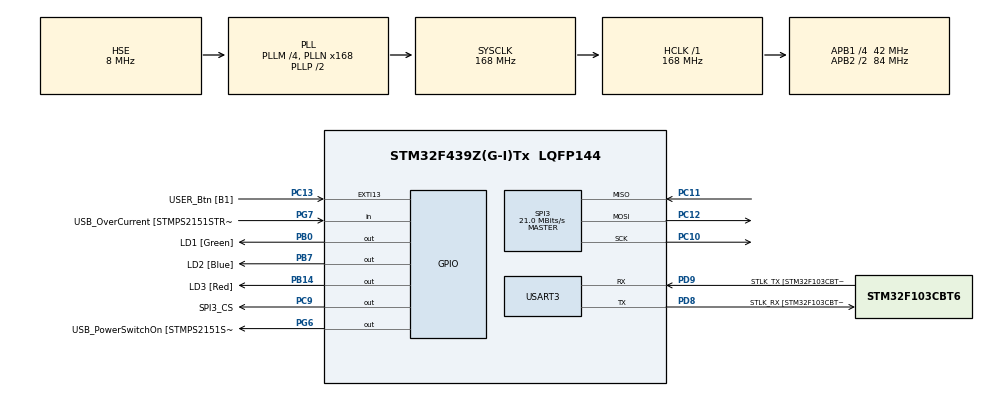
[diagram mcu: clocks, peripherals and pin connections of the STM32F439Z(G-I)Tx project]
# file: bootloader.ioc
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Mcu.Family=STM32F4
Mcu.Name=STM32F439Z(G-I)Tx
Mcu.Package=LQFP144
NVIC.EXTI15_10_IRQn=true\:0\:0\:false\:false\:true\:true\:true\:true
NVIC.PriorityGroup=NVIC_PRIORITYGROUP_4
PA13.GPIO_Label=TMS
PA13.Mode=Serial_Wire
PA13.Signal=SYS_JTMS-SWDIO
PA14.GPIO_Label=TCK
PA14.Mode=Serial_Wire
PA14.Signal=SYS_JTCK-SWCLK
PB0.GPIO_Label=LD1 [Green]
PB0.Signal=GPIO_Output
PB14.GPIO_Label=LD3 [Red]
PB14.Signal=GPIO_Output
PB7.GPIO_Label=LD2 [Blue]
PB7.Signal=GPIO_Output
PC10.Mode=Full_Duplex_Master
PC10.Signal=SPI3_SCK
PC11.Mode=Full_Duplex_Master
PC11.Signal=SPI3_MISO
PC12.Mode=Full_Duplex_Master
PC12.Signal=SPI3_MOSI
PC13.GPIO_Label=USER_Btn [B1]
PC13.GPIO_ModeDefaultEXTI=GPIO_MODE_IT_RISING
PC13.Signal=GPXTI13
PC14/OSC32_IN.Mode=LSE-External-Oscillator
PC14/OSC32_IN.Signal=RCC_OSC32_IN
PC15/OSC32_OUT.Mode=LSE-External-Oscillator
PC15/OSC32_OUT.Signal=RCC_OSC32_OUT
PC9.GPIO_Label=SPI3_CS
PC9.GPIO_Speed=GPIO_SPEED_FREQ_VERY_HIGH
PC9.PinState=GPIO_PIN_SET
PC9.Signal=GPIO_Output
PD8.GPIO_Label=STLK_RX [STM32F103CBT6_PA3]
PD8.Mode=Asynchronous
PD8.Signal=USART3_TX
PD9.GPIO_Label=STLK_TX [STM32F103CBT6_PA2]
PD9.Mode=Asynchronous
PD9.Signal=USART3_RX
PG6.GPIO_Label=USB_PowerSwitchOn [STMPS2151STR_EN]
PG6.Signal=GPIO_Output
PG7.GPIO_Label=USB_OverCurrent [STMPS2151STR_FAULT]
PG7.Signal=GPIO_Input
PH0/OSC_IN.GPIO_Label=MCO [STM32F103CBT6_PA8]
PH0/OSC_IN.Mode=HSE-External-Clock-Source
PH0/OSC_IN.Signal=RCC_OSC_IN
PH1/OSC_OUT.Mode=HSE-External-Clock-Source
PH1/OSC_OUT.Signal=RCC_OSC_OUT
ProjectManager.HeapSize=0x200
ProjectManager.StackSize=0x400
ProjectManager.TargetToolchain=CMake
RCC.48MHZClocksFreq_Value=48000000
RCC.AHBFreq_Value=168000000
RCC.APB1CLKDivider=RCC_HCLK_DIV4
RCC.APB1Freq_Value=42000000
RCC.APB1TimFreq_Value=84000000
RCC.APB2CLKDivider=RCC_HCLK_DIV2
RCC.APB2Freq_Value=84000000
RCC.APB2TimCLKDivider=2
RCC.APB2TimFreq_Value=168000000
RCC.CortexFreq_Value=168000000
RCC.HCLKFreq_Value=168000000
RCC.HSE_VALUE=8000000
RCC.HSI_VALUE=16000000
RCC.PLLM=4
RCC.PLLMUL=RCC_PLL_MUL9
RCC.PLLN=168
RCC.PLLQ=7
RCC.PLLSourceVirtual=RCC_PLLSOURCE_HSE
RCC.PRESCALERUSB=RCC_USBCLKSOURCE_PLL_DIV1_5
RCC.SYSCLKFreq_VALUE=168000000
RCC.SYSCLKSource=RCC_SYSCLKSOURCE_PLLCLK
RCC.SYSCLKSourceVirtual=RCC_SYSCLKSOURCE_PLLCLK
RCC.USBFreq_Value=48000000
RCC.VCOOutputFreq_Value=336000000
SPI3.CalculateBaudRate=21.0 MBits/s
SPI3.Direction=SPI_DIRECTION_2LINES
SPI3.Mode=SPI_MODE_MASTER
SPI3.VirtualType=VM_MASTER
TIM1.Prescaler=168-1
USART3.VirtualMode=VM_ASYNC
VP_TIM1_VS_ClockSourceINT.Mode=Internal
board=NUCLEO-F439ZI

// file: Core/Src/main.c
/* USER CODE BEGIN Header */
/**
  ******************************************************************************
  * @file           : main.c
  * @brief          : Main program body
  ******************************************************************************
  * @attention
  *
  * Copyright (c) 2025 STMicroelectronics.
  * All rights reserved.
  *
  * This software is licensed under terms that can be found in the LICENSE file
  * in the root directory of this software component.
  * If no LICENSE file comes with this software, it is provided AS-IS.
  *
  ******************************************************************************
  */
/* USER CODE END Header */
#include "main.h"

/* USER CODE BEGIN Includes */
#include "generated_public_key.h"
#include "config.h"
#include "app_status.h"
#include "stdio.h"
#include "stdbool.h"
#include "string.h"
#include "ed25519.h"
#include "fragmentstore/fragmentstore.h"
#include "installer.h"
#include "w25qxx_init.h"
#include "w25qxx/flash_interface.h"
#include "delay.h"
#include "niram/no_init_ram.h"
/* USER CODE END Includes */

/* USER CODE BEGIN PTD */
typedef void (*pFunction)(void);
/* USER CODE END PTD */

SPI_HandleTypeDef hspi3;

TIM_HandleTypeDef htim1;

UART_HandleTypeDef huart3;

/* USER CODE BEGIN PV */

static uint8_t f_w25qxx_verify_buf[512];

/* USER CODE END PV */

void SystemClock_Config(void);
static void MX_GPIO_Init(void);
static void MX_SPI3_Init(void);
static void MX_USART3_UART_Init(void);
static void MX_TIM1_Init(void);

/* USER CODE BEGIN 0 */
int __io_putchar(int ch)
{
  /* Place your implementation of fputc here */
  /* e.g. write a character to the USART1 and Loop until the end of transmission */
  HAL_UART_Transmit(&huart3, (uint8_t *)&ch, 1, 0xFFFF);

  return ch;
}

void HAL_GPIO_EXTI_Callback(uint16_t GPIO_Pin)
{
  (void)GPIO_Pin;
  printf("Bootloader button interrupt\r\n");
  memset(&NO_INIT_RAM_content, 0, sizeof(NO_INIT_RAM_content));
  printf("No init ram cleared\r\n");
}

static void JumpTo(uint32_t address)
{
  uint32_t app_stack = *(__IO uint32_t*)address;
  uint32_t app_reset_handler = *(__IO uint32_t*)(address + 4);

  __disable_irq();
  for (int i = 0; i < 8; i++) {
      NVIC->ICER[i] = 0xFFFFFFFF;
      NVIC->ICPR[i] = 0xFFFFFFFF;
  }

  HAL_DeInit();
  HAL_RCC_DeInit();
  SysTick->CTRL = 0;
  SysTick->LOAD = 0;
  SysTick->VAL  = 0;

  SCB->VTOR = address;

  asm volatile ("" ::: "memory");
  asm volatile ("msr msp, %0; bx %1;" : : "r"(app_stack), "r"(app_reset_handler));
}

/* USER CODE END 0 */

int main(void)
{

  /* USER CODE BEGIN 1 */
  NO_INIT_RAM_Init();
  /* USER CODE END 1 */

  /* MCU Configuration--------------------------------------------------------*/

  /* Reset of all peripherals, Initializes the Flash interface and the Systick. */
  HAL_Init();

  /* Configure the system clock */
  SystemClock_Config();

  /* Initialize all configured peripherals */
  MX_GPIO_Init();
  MX_SPI3_Init();
  MX_USART3_UART_Init();
  MX_TIM1_Init();
  /* USER CODE BEGIN 2 */
  printf("Bootloader initialized\r\n");

  NO_INIT_RAM_SetMember(&NO_INIT_RAM_content.resetCount, NO_INIT_RAM_content.resetCount + 1U);

  printf("No init memory reset count: %lu\r\n", NO_INIT_RAM_content.resetCount);
  printf("Last no init memory reset arg = %lu\r\n", NO_INIT_RAM_content.resetArg);

  w25qxx_handle_t* hnd = W25Q128_Init(&hspi3, SPI3_CS_GPIO_Port, SPI3_CS_Pin);
  if (hnd == NULL)
  {
    printf("W25Q128_Init failed!\r\n");
  }
  else
  {
    if (W25Qxx_INTERFACE_Init(hnd, f_w25qxx_verify_buf, sizeof(f_w25qxx_verify_buf)))
    {
      printf("W25Q128_Init OK!\r\n");
    }
    else
    {
      printf("W25Qxx_INTERFACE_Init failed\r\n");
    }
  }

  KeyContainer_t keys = {
    .metadataPubKey = generated_public_key,
    .firmwarePubKey = generated_public_key,
    .fragmentPubKey = generated_public_key,
  };

  bool appBinaryOk = APP_STATUS_Verify(&keys);
  printf("APPLICATION BINARY IS %s\r\n", appBinaryOk ? "OK" : "NOT OK");

#ifdef ENABLE_RESCUE_PARTITION
  bool rescueBinaryOk = RESCUE_STATUS_Verify(&keys);
  printf("RESCUE BINARY IS %s\r\n", rescueBinaryOk ? "OK" : "NOT OK");
#endif

  if (appBinaryOk && (NO_INIT_RAM_content.resetCount >= 10U))
  {
    printf("Reset loop stopped by anti boot loop detection. App marked invalid!\r\n");
    NO_INIT_RAM_SetMember(&NO_INIT_RAM_content.resetCount, 0U);
    NO_INIT_RAM_SetMember(&NO_INIT_RAM_content.appTag, APP_TAG_INVALID);
  }

  INSTALLER_InitAreas(hnd, &keys);

  if (INSTALLER_CheckInstallRequest())
  {
    NO_INIT_RAM_SetMember(&NO_INIT_RAM_content.appTag, APP_TAG_GOOD);
    #ifdef ENABLE_INSTALL_TRYOUT
    NO_INIT_RAM_SetMember(&NO_INIT_RAM_content.installTag, APP_TAG_TRYOUT);
    #else
    NO_INIT_RAM_SetMember(&NO_INIT_RAM_content.installTag, 0U);
    #endif
    appBinaryOk = APP_STATUS_Verify(&keys);
  }
  else
  {
    NO_INIT_RAM_SetMember(&NO_INIT_RAM_content.installTag, 0U);
    printf("Nothing installed!\r\n");
  }

  if (appBinaryOk && (NO_INIT_RAM_content.appTag != APP_TAG_INVALID))
  {
    const Metadata_t* metadata = APP_STATUS_GetMetadata();
    APP_STATUS_PrintMetadata(metadata);
    JumpTo(metadata->startAddress);
  }
  else
  {
    printf("Cannot jump to invalid app!\r\n");
  }

  if (!appBinaryOk && (NO_INIT_RAM_content.appTag != APP_TAG_INVALID))
  {
    if (INSTALLER_TryRepair())
    {
      printf("Firmware repaired!\r\n");
      NO_INIT_RAM_SetMember(&NO_INIT_RAM_content.appTag, APP_TAG_GOOD);
      const Metadata_t* metadata = APP_STATUS_GetMetadata();
      APP_STATUS_PrintMetadata(metadata);
      JumpTo(metadata->startAddress);
    }
  }

#ifdef ENABLE_RESCUE_PARTITION
  if (rescueBinaryOk)
  {
    NO_INIT_RAM_SetMember(&NO_INIT_RAM_content.appTag, APP_TAG_GOOD);
    const Metadata_t* metadata = RESCUE_STATUS_GetMetadata();
    APP_STATUS_PrintMetadata(metadata);
    JumpTo(metadata->startAddress);
  }
#else
  const Metadata_t* meta = NULL;
  const bool rescueOk = INSTALLER_TryInstallRescueApp(&meta);
  if (rescueOk && (meta != NULL))
  {
    NO_INIT_RAM_SetMember(&NO_INIT_RAM_content.appTag, APP_TAG_GOOD);
    APP_STATUS_PrintMetadata(meta);
    JumpTo(meta->startAddress);
  }
#endif
  /* USER CODE END 2 */

  /* Infinite loop */
  /* USER CODE BEGIN WHILE */
  while (1)
  {
    HAL_GPIO_TogglePin(LD3_GPIO_Port, LD3_Pin); // red LED
    HAL_Delay(500);
    /* USER CODE END WHILE */

  }
}

void SystemClock_Config(void)
{
  RCC_OscInitTypeDef RCC_OscInitStruct = {0};
  RCC_ClkInitTypeDef RCC_ClkInitStruct = {0};

  /** Configure the main internal regulator output voltage
  */
  __HAL_RCC_PWR_CLK_ENABLE();
  __HAL_PWR_VOLTAGESCALING_CONFIG(PWR_REGULATOR_VOLTAGE_SCALE1);

  /** Initializes the RCC Oscillators according to the specified parameters
  * in the RCC_OscInitTypeDef structure.
  */
  RCC_OscInitStruct.OscillatorType = RCC_OSCILLATORTYPE_HSE;
  RCC_OscInitStruct.HSEState = RCC_HSE_BYPASS;
  RCC_OscInitStruct.PLL.PLLState = RCC_PLL_ON;
  RCC_OscInitStruct.PLL.PLLSource = RCC_PLLSOURCE_HSE;
  RCC_OscInitStruct.PLL.PLLM = 4;
  RCC_OscInitStruct.PLL.PLLN = 168;
  RCC_OscInitStruct.PLL.PLLP = RCC_PLLP_DIV2;
  RCC_OscInitStruct.PLL.PLLQ = 7;
  if (HAL_RCC_OscConfig(&RCC_OscInitStruct) != HAL_OK)
  {
    Error_Handler();
  }

  /** Initializes the CPU, AHB and APB buses clocks
  */
  RCC_ClkInitStruct.ClockType = RCC_CLOCKTYPE_HCLK|RCC_CLOCKTYPE_SYSCLK
                              |RCC_CLOCKTYPE_PCLK1|RCC_CLOCKTYPE_PCLK2;
  RCC_ClkInitStruct.SYSCLKSource = RCC_SYSCLKSOURCE_PLLCLK;
  RCC_ClkInitStruct.AHBCLKDivider = RCC_SYSCLK_DIV1;
  RCC_ClkInitStruct.APB1CLKDivider = RCC_HCLK_DIV4;
  RCC_ClkInitStruct.APB2CLKDivider = RCC_HCLK_DIV2;

  if (HAL_RCC_ClockConfig(&RCC_ClkInitStruct, FLASH_LATENCY_5) != HAL_OK)
  {
    Error_Handler();
  }
}

static void MX_SPI3_Init(void)
{

  /* SPI3 parameter configuration*/
  hspi3.Instance = SPI3;
  hspi3.Init.Mode = SPI_MODE_MASTER;
  hspi3.Init.Direction = SPI_DIRECTION_2LINES;
  hspi3.Init.DataSize = SPI_DATASIZE_8BIT;
  hspi3.Init.CLKPolarity = SPI_POLARITY_LOW;
  hspi3.Init.CLKPhase = SPI_PHASE_1EDGE;
  hspi3.Init.NSS = SPI_NSS_SOFT;
  hspi3.Init.BaudRatePrescaler = SPI_BAUDRATEPRESCALER_2;
  hspi3.Init.FirstBit = SPI_FIRSTBIT_MSB;
  hspi3.Init.TIMode = SPI_TIMODE_DISABLE;
  hspi3.Init.CRCCalculation = SPI_CRCCALCULATION_DISABLE;
  hspi3.Init.CRCPolynomial = 10;
  if (HAL_SPI_Init(&hspi3) != HAL_OK)
  {
    Error_Handler();
  }

}

static void MX_TIM1_Init(void)
{

  TIM_ClockConfigTypeDef sClockSourceConfig = {0};
  TIM_MasterConfigTypeDef sMasterConfig = {0};

  htim1.Instance = TIM1;
  htim1.Init.Prescaler = 168-1;
  htim1.Init.CounterMode = TIM_COUNTERMODE_UP;
  htim1.Init.Period = 65535;
  htim1.Init.ClockDivision = TIM_CLOCKDIVISION_DIV1;
  htim1.Init.RepetitionCounter = 0;
  htim1.Init.AutoReloadPreload = TIM_AUTORELOAD_PRELOAD_DISABLE;
  if (HAL_TIM_Base_Init(&htim1) != HAL_OK)
  {
    Error_Handler();
  }
  sClockSourceConfig.ClockSource = TIM_CLOCKSOURCE_INTERNAL;
  if (HAL_TIM_ConfigClockSource(&htim1, &sClockSourceConfig) != HAL_OK)
  {
    Error_Handler();
  }
  sMasterConfig.MasterOutputTrigger = TIM_TRGO_RESET;
  sMasterConfig.MasterSlaveMode = TIM_MASTERSLAVEMODE_DISABLE;
  if (HAL_TIMEx_MasterConfigSynchronization(&htim1, &sMasterConfig) != HAL_OK)
  {
    Error_Handler();
  }
  /* USER CODE BEGIN TIM1_Init 2 */
  HAL_TIM_Base_Start(&htim1);
  /* USER CODE END TIM1_Init 2 */

}

static void MX_USART3_UART_Init(void)
{

  huart3.Instance = USART3;
  huart3.Init.BaudRate = 115200;
  huart3.Init.WordLength = UART_WORDLENGTH_8B;
  huart3.Init.StopBits = UART_STOPBITS_1;
  huart3.Init.Parity = UART_PARITY_NONE;
  huart3.Init.Mode = UART_MODE_TX_RX;
  huart3.Init.HwFlowCtl = UART_HWCONTROL_NONE;
  huart3.Init.OverSampling = UART_OVERSAMPLING_16;
  if (HAL_UART_Init(&huart3) != HAL_OK)
  {
    Error_Handler();
  }

}

static void MX_GPIO_Init(void)
{
  GPIO_InitTypeDef GPIO_InitStruct = {0};

  /* GPIO Ports Clock Enable */
  __HAL_RCC_GPIOC_CLK_ENABLE();
  __HAL_RCC_GPIOH_CLK_ENABLE();
  __HAL_RCC_GPIOB_CLK_ENABLE();
  __HAL_RCC_GPIOD_CLK_ENABLE();
  __HAL_RCC_GPIOG_CLK_ENABLE();
  __HAL_RCC_GPIOA_CLK_ENABLE();

  /*Configure GPIO pin Output Level */
  HAL_GPIO_WritePin(GPIOB, LD1_Pin|LD3_Pin|LD2_Pin, GPIO_PIN_RESET);

  /*Configure GPIO pin Output Level */
  HAL_GPIO_WritePin(USB_PowerSwitchOn_GPIO_Port, USB_PowerSwitchOn_Pin, GPIO_PIN_RESET);

  /*Configure GPIO pin Output Level */
  HAL_GPIO_WritePin(SPI3_CS_GPIO_Port, SPI3_CS_Pin, GPIO_PIN_SET);

  /*Configure GPIO pin : USER_Btn_Pin */
  GPIO_InitStruct.Pin = USER_Btn_Pin;
  GPIO_InitStruct.Mode = GPIO_MODE_IT_RISING;
  GPIO_InitStruct.Pull = GPIO_NOPULL;
  HAL_GPIO_Init(USER_Btn_GPIO_Port, &GPIO_InitStruct);

  /*Configure GPIO pins : LD1_Pin LD3_Pin LD2_Pin */
  GPIO_InitStruct.Pin = LD1_Pin|LD3_Pin|LD2_Pin;
  GPIO_InitStruct.Mode = GPIO_MODE_OUTPUT_PP;
  GPIO_InitStruct.Pull = GPIO_NOPULL;
  GPIO_InitStruct.Speed = GPIO_SPEED_FREQ_LOW;
  HAL_GPIO_Init(GPIOB, &GPIO_InitStruct);

  /*Configure GPIO pin : USB_PowerSwitchOn_Pin */
  GPIO_InitStruct.Pin = USB_PowerSwitchOn_Pin;
  GPIO_InitStruct.Mode = GPIO_MODE_OUTPUT_PP;
  GPIO_InitStruct.Pull = GPIO_NOPULL;
  GPIO_InitStruct.Speed = GPIO_SPEED_FREQ_LOW;
  HAL_GPIO_Init(USB_PowerSwitchOn_GPIO_Port, &GPIO_InitStruct);

  /*Configure GPIO pin : USB_OverCurrent_Pin */
  GPIO_InitStruct.Pin = USB_OverCurrent_Pin;
  GPIO_InitStruct.Mode = GPIO_MODE_INPUT;
  GPIO_InitStruct.Pull = GPIO_NOPULL;
  HAL_GPIO_Init(USB_OverCurrent_GPIO_Port, &GPIO_InitStruct);

  /*Configure GPIO pin : SPI3_CS_Pin */
  GPIO_InitStruct.Pin = SPI3_CS_Pin;
  GPIO_InitStruct.Mode = GPIO_MODE_OUTPUT_PP;
  GPIO_InitStruct.Pull = GPIO_NOPULL;
  GPIO_InitStruct.Speed = GPIO_SPEED_FREQ_VERY_HIGH;
  HAL_GPIO_Init(SPI3_CS_GPIO_Port, &GPIO_InitStruct);

  /* EXTI interrupt init*/
  HAL_NVIC_SetPriority(EXTI15_10_IRQn, 0, 0);
  HAL_NVIC_EnableIRQ(EXTI15_10_IRQn);

}

/* USER CODE BEGIN 4 */

void DELAY_us(uint16_t us)
{
  __HAL_TIM_SET_COUNTER(&htim1,0);
	while (__HAL_TIM_GET_COUNTER(&htim1) < us);
}

void DELAY_ms(uint32_t ms)
{
  for (uint32_t i = 0; i < ms; i++)
  {
    DELAY_us(1000U);
  }
}

/* USER CODE END 4 */

void Error_Handler(void)
{
  __disable_irq();
  while (1)
  {
  }
}
